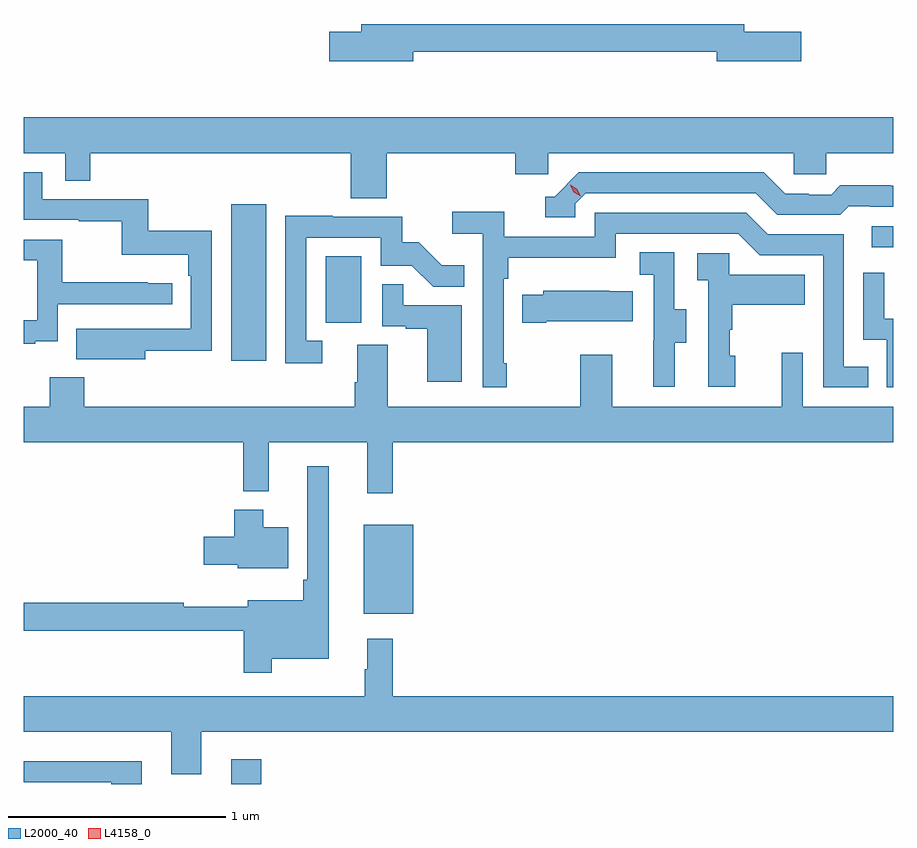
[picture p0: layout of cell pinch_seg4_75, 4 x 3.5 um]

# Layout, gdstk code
import gdstk
lib = gdstk.Library(unit=1e-6, precision=1e-09)
def R(c, l, rs):  # rectangles x0, y0, x1, y1
    for r in rs: c.add(gdstk.rectangle(r[:2], r[2:], *l))
def P(c, l, *ps):  # polygons
    for p in ps: c.add(gdstk.Polygon(p, *l))
L2000_40 = (2000, 40)
L4158_0 = (4158, 0)

pinch_seg4_75 = lib.new_cell('pinch_seg4_75')
R(pinch_seg4_75, L2000_40, [(1072.421,823.22,1072.561,823.333), (1073.033,824.003,1073.26,824.413), (1072.421,825.168,1072.582,825.889), (1072.856,825.342,1073.02,825.649), (1075.371,825.69,1075.468,825.786)])
P(pinch_seg4_75, L2000_40, [(1073.26,826.59),(1074.656,826.59),(1074.656,826.547),(1075.045,826.547),(1075.045,826.682),(1074.784,826.682),(1074.784,826.718),(1073.021,826.718),(1073.021,826.682),(1072.872,826.682),(1072.872,826.547),(1073.26,826.547)],
  [(1073.138,826.124),(1073.729,826.124),(1073.729,826.026),(1073.88,826.026),(1073.88,826.124),(1075.011,826.124),(1075.011,826.026),(1075.161,826.026),(1075.161,826.124),(1075.468,826.124),(1075.468,826.288),(1071.468,826.288),(1071.468,826.124),(1071.657,826.124),(1071.657,825.997),(1071.773,825.997),(1071.773,826.124),(1072.973,826.124),(1072.973,825.916),(1073.138,825.916)],
  [(1074.006,825.891),(1074.054,825.939),(1074.837,825.939),(1074.936,825.84),(1075.225,825.84),(1075.264,825.879),(1075.363,825.879),(1075.363,825.876),(1075.468,825.876),(1075.468,825.973),(1075.458,825.973),(1075.458,825.976),(1075.225,825.976),(1075.183,825.933),(1075.08,825.933),(1075.08,825.936),(1074.973,825.936),(1074.874,826.035),(1074.021,826.035),(1073.91,825.924),(1073.867,825.924),(1073.867,825.828),(1074.006,825.828)],
  [(1072.027,825.214),(1072.332,825.214),(1072.332,825.766),(1072.039,825.766),(1072.039,825.912),(1071.552,825.912),(1071.552,826.035),(1071.468,826.035),(1071.468,825.816),(1071.721,825.816),(1071.721,825.811),(1071.918,825.811),(1071.918,825.656),(1072.223,825.656),(1072.223,825.56),(1072.236,825.56),(1072.236,825.315),(1071.923,825.315),(1071.923,825.316),(1071.709,825.316),(1071.709,825.176),(1072.027,825.176)],
  [(1073.689,825.157),(1073.676,825.157),(1073.676,825.545),(1073.696,825.545),(1073.696,825.641),(1074.192,825.641),(1074.192,825.753),(1074.756,825.753),(1074.855,825.654),(1075.146,825.654),(1075.146,825.045),(1075.355,825.045),(1075.355,825.141),(1075.242,825.141),(1075.242,825.75),(1074.892,825.75),(1074.793,825.849),(1074.096,825.849),(1074.096,825.738),(1073.678,825.738),(1073.678,825.854),(1073.439,825.854),(1073.439,825.752),(1073.58,825.752),(1073.58,825.045),(1073.689,825.045)],
  [(1072.84,825.261),(1072.767,825.261),(1072.767,825.735),(1073.109,825.735),(1073.109,825.606),(1073.253,825.606),(1073.351,825.508),(1073.495,825.508),(1073.495,825.607),(1073.391,825.607),(1073.284,825.714),(1073.208,825.714),(1073.208,825.831),(1072.889,825.831),(1072.889,825.836),(1072.671,825.836),(1072.671,825.156),(1072.84,825.156)],
  [(1071.521,825.257),(1071.624,825.257),(1071.624,825.429),(1072.15,825.429),(1072.15,825.525),(1072.037,825.525),(1072.037,825.53),(1071.644,825.53),(1071.644,825.726),(1071.468,825.726),(1071.468,825.63),(1071.528,825.63),(1071.528,825.354),(1071.468,825.354),(1071.468,825.246),(1071.521,825.246)],
  [(1074.463,825.25),(1074.517,825.25),(1074.517,825.405),(1074.462,825.405),(1074.462,825.668),(1074.303,825.668),(1074.303,825.565),(1074.366,825.565),(1074.366,825.261),(1074.365,825.261),(1074.365,825.048),(1074.463,825.048)],
  [(1074.742,825.192),(1074.717,825.192),(1074.717,825.311),(1074.727,825.311),(1074.727,825.425),(1075.061,825.425),(1075.061,825.565),(1074.714,825.565),(1074.714,825.663),(1074.567,825.663),(1074.567,825.539),(1074.618,825.539),(1074.618,825.048),(1074.742,825.048)],
  [(1075.468,825.362),(1075.428,825.362),(1075.428,825.574),(1075.332,825.574),(1075.332,825.264),(1075.44,825.264),(1075.44,825.045),(1075.468,825.045)],
  [(1073.482,825.423),(1073.213,825.423),(1073.213,825.521),(1073.118,825.521),(1073.118,825.327),(1073.225,825.327),(1073.225,825.315),(1073.324,825.315),(1073.324,825.072),(1073.482,825.072)],
  [(1073.872,825.35),(1074.269,825.35),(1074.269,825.487),(1074.161,825.487),(1074.161,825.49),(1073.859,825.49),(1073.859,825.472),(1073.761,825.472),(1073.761,825.343),(1073.872,825.343)],
  [(1073.165,824.792),(1075.468,824.792),(1075.468,824.956),(1075.053,824.956),(1075.053,825.205),(1074.956,825.205),(1074.956,824.956),(1074.175,824.956),(1074.175,825.196),(1074.028,825.196),(1074.028,824.956),(1073.143,824.956),(1073.143,825.242),(1073.003,825.242),(1073.003,825.068),(1072.991,825.068),(1072.991,824.956),(1071.746,824.956),(1071.746,825.091),(1071.586,825.091),(1071.586,824.956),(1071.468,824.956),(1071.468,824.792),(1072.477,824.792),(1072.477,824.567),(1072.595,824.567),(1072.595,824.792),(1073.048,824.792),(1073.048,824.559),(1073.165,824.559)],
  [(1072.609,823.796),(1072.87,823.796),(1072.87,824.683),(1072.773,824.683),(1072.773,824.161),(1072.753,824.161),(1072.753,824.065),(1072.499,824.065),(1072.499,824.036),(1072.203,824.036),(1072.203,824.054),(1071.468,824.054),(1071.468,823.926),(1072.48,823.926),(1072.48,823.731),(1072.609,823.731)],
  [(1072.684,824.401),(1072.57,824.401),(1072.57,824.482),(1072.436,824.482),(1072.436,824.358),(1072.296,824.358),(1072.296,824.228),(1072.452,824.228),(1072.452,824.213),(1072.684,824.213)],
  [(1072.285,823.46),(1075.468,823.46),(1075.468,823.624),(1073.165,823.624),(1073.165,823.888),(1073.048,823.888),(1073.048,823.748),(1073.037,823.748),(1073.037,823.624),(1071.468,823.624),(1071.468,823.46),(1072.145,823.46),(1072.145,823.266),(1072.285,823.266)],
  [(1072.009,823.324),(1071.468,823.324),(1071.468,823.227),(1071.869,823.227),(1071.869,823.22),(1072.009,823.22)])
P(pinch_seg4_75, L4158_0, [(1074.03,825.925),(1073.999,825.944),(1073.982,825.976),(1073.982,825.977),(1073.982,825.977),(1074.014,825.958),(1074.03,825.925),(1074.03,825.925)])

lib.write_gds('pinch_seg4_75.gds')
